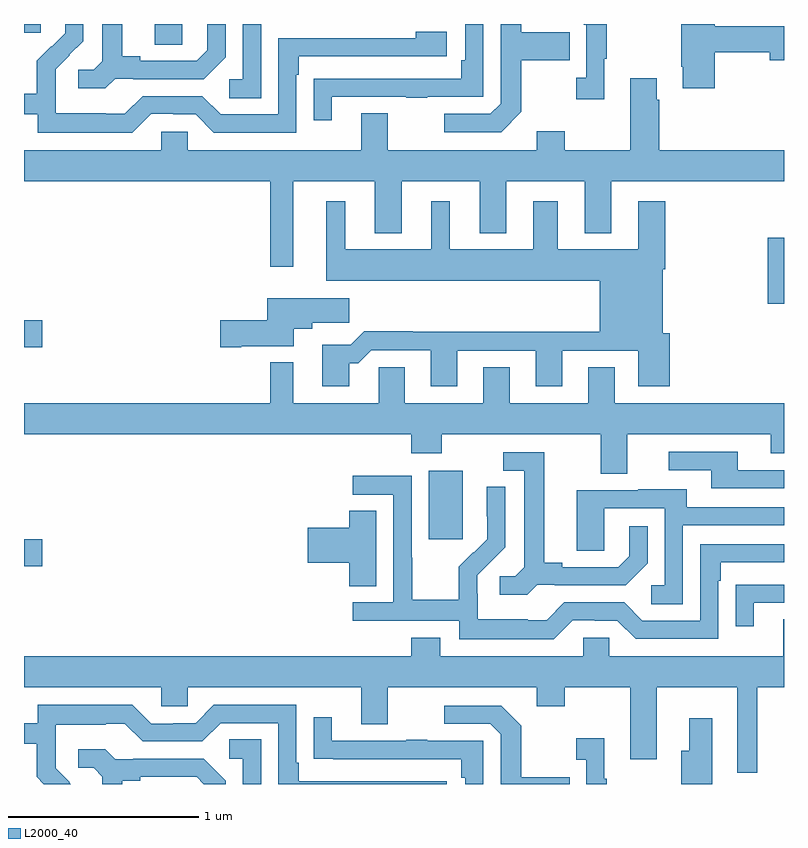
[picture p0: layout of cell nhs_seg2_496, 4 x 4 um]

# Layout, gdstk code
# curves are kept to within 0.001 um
import gdstk
lib = gdstk.Library(unit=1e-6, precision=1e-09)
def R(c, l, rs):  # rectangles x0, y0, x1, y1
    for r in rs: c.add(gdstk.rectangle(r[:2], r[2:], *l))
def P(c, l, *ps):  # polygons
    for p in ps: c.add(gdstk.Polygon(p, *l))
L2000_40 = (2000, 40)

nhs_seg2_496 = lib.new_cell('nhs_seg2_496')
R(nhs_seg2_496, L2000_40, [(135,642.946,135.097,643.088), (137.129,643.089,137.308,643.45), (135,644.098,135.097,644.24), (138.914,644.327,139,644.676), (135.689,645.691,135.834,645.8), (135,645.753,135.088,645.8)])
P(nhs_seg2_496, L2000_40, [(136.621,645.417),(137.011,645.417),(137.011,645.412),(137.123,645.412),(137.123,645.417),(137.418,645.417),(137.418,645.8),(137.322,645.8),(137.322,645.61),(137.302,645.61),(137.302,645.513),(136.627,645.513),(136.627,645.512),(136.525,645.512),(136.525,645.294),(136.621,645.294)],
  [(136.248,645.8),(136.152,645.8),(136.152,645.51),(136.08,645.51),(136.08,645.409),(136.248,645.409)],
  [(138.635,645.652),(138.926,645.652),(138.926,645.61),(139,645.61),(139,645.788),(138.635,645.788),(138.635,645.8),(138.46,645.8),(138.46,645.574),(138.467,645.574),(138.467,645.462),(138.635,645.462)],
  [(135.48,645.513),(135.574,645.513),(135.574,645.51),(135.946,645.51),(136.062,645.626),(136.062,645.8),(135.965,645.8),(135.965,645.663),(135.908,645.606),(135.613,645.606),(135.613,645.629),(135.517,645.629),(135.517,645.8),(135.413,645.8),(135.413,645.605),(135.366,645.558),(135.285,645.558),(135.285,645.461),(135.428,645.461)],
  [(135.669,645.327),(135.785,645.327),(135.785,645.324),(135.903,645.324),(135.999,645.228),(136.434,645.228),(136.434,645.533),(136.447,645.533),(136.447,645.63),(137.224,645.63),(137.224,645.76),(137.063,645.76),(137.063,645.726),(136.338,645.726),(136.338,645.324),(136.035,645.324),(135.939,645.42),(135.624,645.42),(135.531,645.327),(135.431,645.327),(135.431,645.331),(135.168,645.331),(135.168,645.465),(135.166,645.465),(135.166,645.562),(135.312,645.71),(135.312,645.8),(135.218,645.8),(135.218,645.752),(135.147,645.681),(135.144,645.684),(135.067,645.607),(135.067,645.433),(135,645.433),(135,645.324),(135.072,645.324),(135.072,645.227),(135.569,645.227)],
  [(138.055,645.617),(138.067,645.617),(138.067,645.8),(137.946,645.8),(137.946,645.797),(137.958,645.797),(137.958,645.518),(137.907,645.518),(137.907,645.405),(138.055,645.405)],
  [(137.617,645.337),(137.617,645.61),(137.873,645.61),(137.873,645.757),(137.617,645.757),(137.617,645.8),(137.508,645.8),(137.508,645.381),(137.454,645.327),(137.211,645.327),(137.211,645.231),(137.511,645.231)],
  [(136.417,644.972),(136.847,644.972),(136.847,644.699),(136.987,644.699),(136.987,644.972),(137.399,644.972),(137.399,644.699),(137.539,644.699),(137.539,644.972),(137.951,644.972),(137.951,644.699),(138.091,644.699),(138.091,644.972),(139,644.972),(139,645.136),(138.344,645.136),(138.344,645.401),(138.331,645.401),(138.331,645.514),(138.191,645.514),(138.191,645.136),(137.847,645.136),(137.847,645.235),(137.699,645.235),(137.699,645.136),(136.915,645.136),(136.915,645.331),(136.775,645.331),(136.775,645.136),(135.861,645.136),(135.861,645.234),(135.723,645.234),(135.723,645.136),(135,645.136),(135,644.972),(136.296,644.972),(136.296,644.523),(136.417,644.523)],
  [(136.711,644.015),(136.76,644.015),(136.827,644.082),(137.141,644.082),(137.141,643.893),(137.281,643.893),(137.281,644.079),(137.693,644.079),(137.693,643.893),(137.833,643.893),(137.833,644.079),(138.233,644.079),(138.233,643.893),(138.398,643.893),(138.398,644.172),(138.361,644.172),(138.361,644.51),(138.374,644.51),(138.374,644.866),(138.233,644.866),(138.233,644.614),(137.809,644.614),(137.809,644.866),(137.681,644.866),(137.681,644.614),(137.242,644.614),(137.242,644.866),(137.144,644.866),(137.144,644.614),(136.69,644.614),(136.69,644.866),(136.592,644.866),(136.592,644.45),(138.029,644.45),(138.029,644.18),(137.045,644.18),(137.045,644.183),(136.79,644.183),(136.72,644.113),(136.571,644.113),(136.571,643.893),(136.711,643.893)],
  [(136.144,644.105),(136.42,644.105),(136.42,644.195),(136.516,644.195),(136.516,644.227),(136.711,644.227),(136.711,644.356),(136.28,644.356),(136.28,644.24),(136.032,644.24),(136.032,644.098),(136.144,644.098)],
  [(138.109,643.994),(137.969,643.994),(137.969,643.804),(137.557,643.804),(137.557,643.994),(137.417,643.994),(137.417,643.804),(137.005,643.804),(137.005,643.994),(136.866,643.994),(136.866,643.804),(136.417,643.804),(136.417,644.02),(136.296,644.02),(136.296,643.804),(135,643.804),(135,643.64),(137.039,643.64),(137.039,643.541),(137.199,643.541),(137.199,643.64),(138.035,643.64),(138.035,643.432),(138.175,643.432),(138.175,643.64),(138.929,643.64),(138.929,643.541),(139,643.541),(139,643.804),(138.109,643.804)],
  [(139,643.452),(138.757,643.452),(138.757,643.548),(138.393,643.548),(138.393,643.452),(138.617,643.452),(138.617,643.356),(139,643.356)],
  [(137.7,642.849),(137.794,642.849),(137.794,642.846),(138.166,642.846),(138.282,642.962),(138.282,643.156),(138.185,643.156),(138.185,642.999),(138.128,642.942),(137.833,642.942),(137.833,642.965),(137.737,642.965),(137.737,643.545),(137.523,643.545),(137.523,643.449),(137.633,643.449),(137.633,642.941),(137.586,642.894),(137.505,642.894),(137.505,642.797),(137.648,642.797)],
  [(137.889,642.663),(138.005,642.663),(138.005,642.66),(138.123,642.66),(138.219,642.564),(138.654,642.564),(138.654,642.869),(138.667,642.869),(138.667,642.966),(139,642.966),(139,643.062),(138.558,643.062),(138.558,642.66),(138.255,642.66),(138.159,642.756),(137.844,642.756),(137.751,642.663),(137.651,642.663),(137.651,642.667),(137.388,642.667),(137.388,642.801),(137.386,642.801),(137.386,642.898),(137.532,643.046),(137.532,643.364),(137.436,643.364),(137.436,643.21),(137.438,643.21),(137.438,643.088),(137.367,643.017),(137.364,643.02),(137.287,642.943),(137.287,642.769),(137.043,642.769),(137.043,642.992),(137.04,642.992),(137.04,643.422),(136.731,643.422),(136.731,643.323),(136.944,643.323),(136.944,642.756),(136.731,642.756),(136.731,642.66),(137.292,642.66),(137.292,642.563),(137.789,642.563)],
  [(138.468,643.161),(139,643.161),(139,643.257),(138.487,643.257),(138.487,643.351),(138.233,643.351),(138.233,643.347),(137.909,643.347),(137.909,643.027),(138.054,643.027),(138.054,643.251),(138.372,643.251),(138.372,642.846),(138.3,642.846),(138.3,642.745),(138.468,642.745)],
  [(136.855,643.238),(136.712,643.238),(136.712,643.148),(136.494,643.148),(136.494,642.965),(136.712,642.965),(136.712,642.841),(136.855,642.841)],
  [(138.841,642.753),(139,642.753),(139,642.849),(138.847,642.849),(138.847,642.848),(138.745,642.848),(138.745,642.63),(138.841,642.63)],
  [(138.859,642.308),(139,642.308),(139,642.667),(138.995,642.667),(138.995,642.472),(138.081,642.472),(138.081,642.57),(137.943,642.57),(137.943,642.472),(137.191,642.472),(137.191,642.571),(137.039,642.571),(137.039,642.472),(135,642.472),(135,642.308),(135.723,642.308),(135.723,642.21),(135.861,642.21),(135.861,642.308),(136.775,642.308),(136.775,642.114),(136.915,642.114),(136.915,642.308),(137.699,642.308),(137.699,642.209),(137.847,642.209),(137.847,642.308),(138.191,642.308),(138.191,641.931),(138.331,641.931),(138.331,642.308),(138.755,642.308),(138.755,641.859),(138.859,641.859)],
  [(135.239,641.807),(135.24,641.808),(135.166,641.882),(135.166,641.979),(135.168,641.979),(135.168,642.113),(135.431,642.113),(135.431,642.117),(135.531,642.117),(135.624,642.024),(135.939,642.024),(136.035,642.12),(136.338,642.12),(136.338,641.8),(137.224,641.8),(137.224,641.814),(136.447,641.814),(136.447,641.911),(136.434,641.911),(136.434,642.216),(135.999,642.216),(135.903,642.12),(135.785,642.12),(135.785,642.117),(135.669,642.117),(135.569,642.217),(135.072,642.217),(135.072,642.12),(135,642.12),(135,642.012),(135.067,642.012),(135.067,641.837),(135.104,641.8),(135.246,641.8)],
  [(137.873,641.835),(137.617,641.835),(137.617,642.107),(137.511,642.213),(137.211,642.213),(137.211,642.117),(137.454,642.117),(137.508,642.063),(137.508,641.8),(137.873,641.8)],
  [(137.418,642.027),(137.123,642.027),(137.123,642.032),(137.011,642.032),(137.011,642.027),(136.621,642.027),(136.621,642.151),(136.525,642.151),(136.525,641.932),(136.627,641.932),(136.627,641.931),(137.302,641.931),(137.302,641.834),(137.322,641.834),(137.322,641.8),(137.418,641.8)],
  [(138.622,642.145),(138.5,642.145),(138.5,641.974),(138.46,641.974),(138.46,641.8),(138.622,641.8)],
  [(138.067,641.827),(138.055,641.827),(138.055,642.04),(137.907,642.04),(137.907,641.927),(137.958,641.927),(137.958,641.8),(138.067,641.8)],
  [(136.248,642.035),(136.08,642.035),(136.08,641.934),(136.152,641.934),(136.152,641.8),(136.248,641.8)],
  [(135.517,641.816),(135.613,641.816),(135.613,641.838),(135.908,641.838),(135.946,641.8),(136.062,641.8),(136.062,641.818),(135.946,641.934),(135.574,641.934),(135.574,641.931),(135.48,641.931),(135.428,641.983),(135.285,641.983),(135.285,641.886),(135.366,641.886),(135.413,641.839),(135.413,641.8),(135.517,641.8)])

lib.write_gds('nhs_seg2_496.gds')
